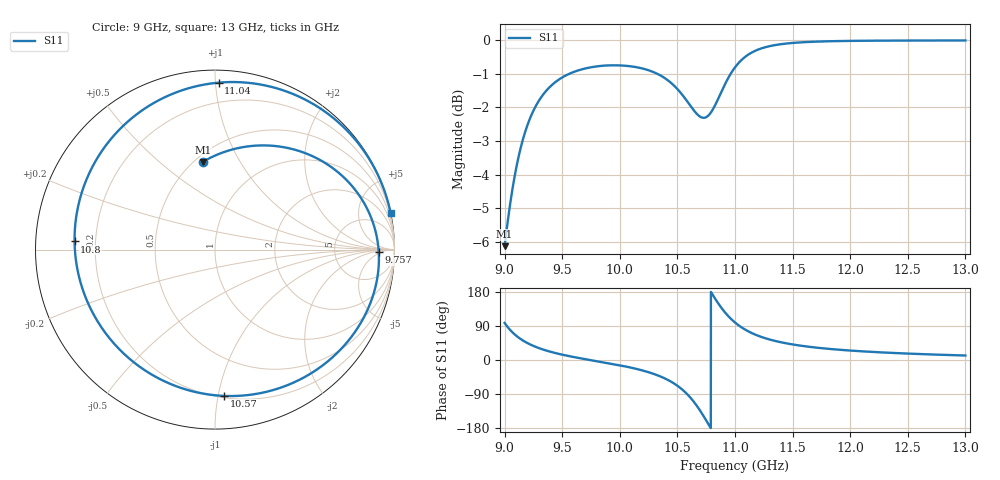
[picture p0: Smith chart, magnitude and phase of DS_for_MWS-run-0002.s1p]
! TOUCHSTONE file generated by CST DESIGN STUDIO
! Date and time: Tue Feb  4 14:36:58 2025
! Project name: C:\Work\MatlabApps\UnitCellOptimizationMatlab\CST\unitcell.cst
! Tree item: Tasks\Sweep1\SPara1\S-Parameters
! Header version: 2024
! Port assignment regex: !\s*Touchstone port\s*([0-9]+)\s*=\s*(CST MWS port|CST DES external port|CST DES block port)\s*(.+)\s* \(\"(.*)\"\)(\s*mode\s*([0-9]+))?.*
! Touchstone port assignment:
! Touchstone port 1 = CST DES external port 1 ("")
# GHz S MA R 50
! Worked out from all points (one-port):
!   4001 points, 9 GHz to 13 GHz, reference 50 ohm
!   lowest |S11| = -6.1 dB at 9 GHz (marker M1), VSWR 2.95, Z = 27.4 + j35.4 ohm
!   |S11| at or under -10 dB: nowhere
!   S11 on the Smith chart (normalised r, x): 9 GHz: 0.55, +0.71; 9.757 GHz: 21, -3; 10.57 GHz: 0.21, -1.04; 10.8 GHz: 0.12, +0.03; 11.04 GHz: 0.07, +1.02; 13 GHz: 0.01, +9.66
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9  0.4936 97.9
9.097  0.6405 65.0
9.225  0.7685 40.6
9.347  0.8357 26.3
9.5  0.8806 14.1
9.757  0.9123 -0.8
10  0.9177 -14.0
10.167  0.9105 -25.2
10.3  0.8958 -37.3
10.408  0.8743 -51.2
10.5  0.8462 -68.0
10.573  0.8166 -86.5
10.631  0.7913 -105.9
10.683  0.773 -127.2
10.745  0.7677 -157.0
10.797  0.7837 176.7
10.844  0.8116 154.1
10.9  0.8513 130.5
10.948  0.8831 113.8
11  0.9116 99.0
11.044  0.9304 88.8
11.134  0.9568 72.8
11.235  0.9736 60.2
11.354  0.9844 49.9
11.5  0.9913 41.1
12  0.9983 24.9
12.5  0.9994 16.9
13  0.9998 11.8
